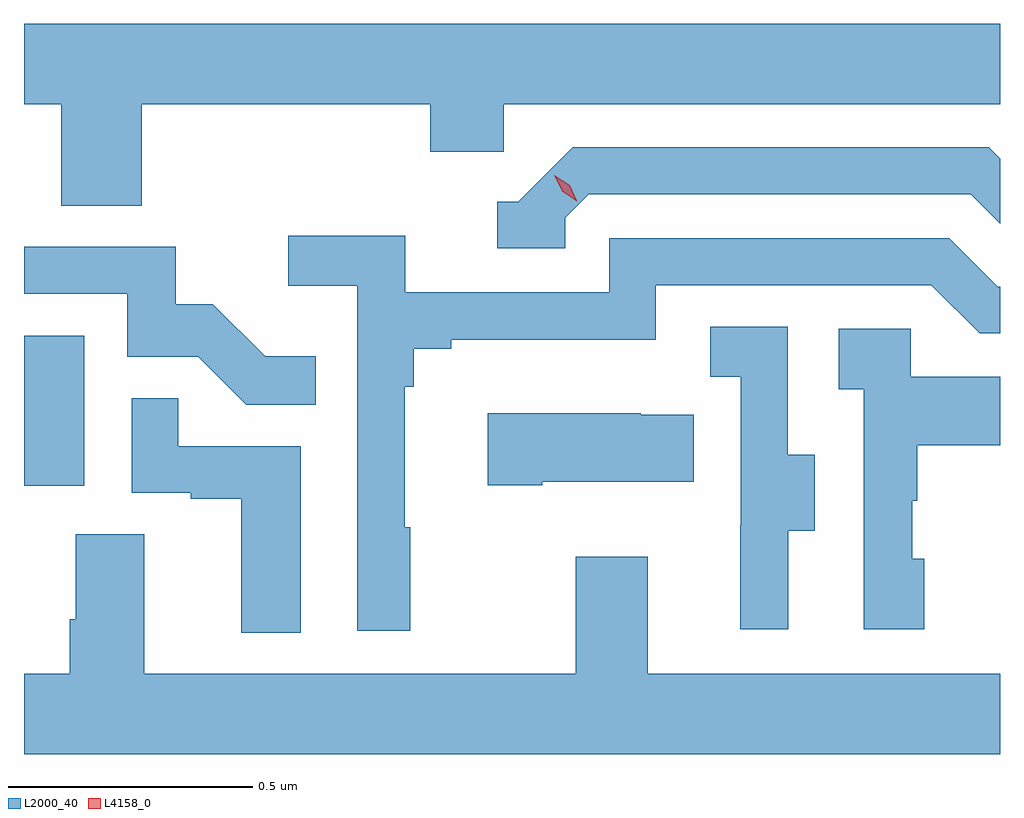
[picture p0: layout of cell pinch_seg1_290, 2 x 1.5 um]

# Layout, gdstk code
import gdstk
lib = gdstk.Library(unit=1e-6, precision=1e-09)
def R(c, l, rs):  # rectangles x0, y0, x1, y1
    for r in rs: c.add(gdstk.rectangle(r[:2], r[2:], *l))
def P(c, l, *ps):  # polygons
    for p in ps: c.add(gdstk.Polygon(p, *l))
L2000_40 = (2000, 40)
L4158_0 = (4158, 0)

pinch_seg1_290 = lib.new_cell('pinch_seg1_290')
R(pinch_seg1_290, L2000_40, [(935.923,558.942,936.046,559.249)])
P(pinch_seg1_290, L2000_40, [(936.164,559.724),(936.755,559.724),(936.755,559.626),(936.906,559.626),(936.906,559.724),(937.923,559.724),(937.923,559.888),(935.923,559.888),(935.923,559.724),(935.999,559.724),(935.999,559.516),(936.164,559.516)],
  [(937.032,559.491),(937.08,559.539),(937.863,559.539),(937.923,559.479),(937.923,559.612),(937.9,559.635),(937.047,559.635),(936.936,559.524),(936.893,559.524),(936.893,559.428),(937.032,559.428)],
  [(936.715,558.857),(936.703,558.857),(936.703,559.145),(936.722,559.145),(936.722,559.222),(936.799,559.222),(936.799,559.241),(937.218,559.241),(937.218,559.353),(937.782,559.353),(937.881,559.254),(937.923,559.254),(937.923,559.35),(937.918,559.35),(937.819,559.449),(937.122,559.449),(937.122,559.338),(936.704,559.338),(936.704,559.454),(936.465,559.454),(936.465,559.352),(936.606,559.352),(936.606,558.645),(936.715,558.645)],
  [(936.521,559.207),(936.417,559.207),(936.31,559.314),(936.234,559.314),(936.234,559.431),(935.923,559.431),(935.923,559.335),(936.135,559.335),(936.135,559.206),(936.28,559.206),(936.378,559.108),(936.521,559.108)],
  [(937.489,558.85),(937.543,558.85),(937.543,559.005),(937.488,559.005),(937.488,559.268),(937.329,559.268),(937.329,559.165),(937.392,559.165),(937.392,558.861),(937.391,558.861),(937.391,558.648),(937.489,558.648)],
  [(937.768,558.792),(937.743,558.792),(937.743,558.911),(937.753,558.911),(937.753,559.025),(937.923,559.025),(937.923,559.165),(937.74,559.165),(937.74,559.263),(937.593,559.263),(937.593,559.139),(937.644,559.139),(937.644,558.648),(937.768,558.648)],
  [(936.49,559.023),(936.239,559.023),(936.239,559.121),(936.144,559.121),(936.144,558.927),(936.265,558.927),(936.265,558.915),(936.368,558.915),(936.368,558.641),(936.49,558.641)],
  [(936.985,558.95),(937.295,558.95),(937.295,559.087),(937.187,559.087),(937.187,559.09),(936.873,559.09),(936.873,558.943),(936.985,558.943)],
  [(937.923,558.556),(937.201,558.556),(937.201,558.796),(937.054,558.796),(937.054,558.556),(936.169,558.556),(936.169,558.842),(936.029,558.842),(936.029,558.668),(936.017,558.668),(936.017,558.556),(935.923,558.556),(935.923,558.392),(937.923,558.392)])
P(pinch_seg1_290, L4158_0, [(937.056,559.525),(937.026,559.545),(937.01,559.578),(937.01,559.578),(937.01,559.578),(937.041,559.558),(937.056,559.526),(937.056,559.525)])

lib.write_gds('pinch_seg1_290.gds')
